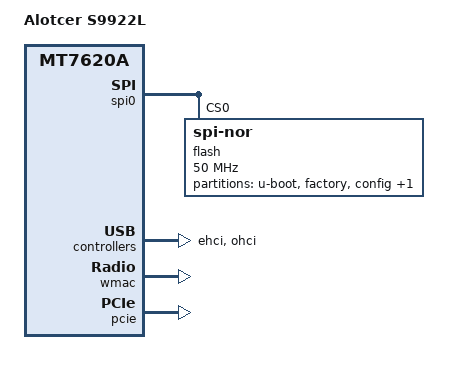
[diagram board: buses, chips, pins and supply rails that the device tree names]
// SPDX-License-Identifier: GPL-2.0-or-later OR MIT
/dts-v1/;

#include "mt7620a.dtsi"

#include <dt-bindings/gpio/gpio.h>
#include <dt-bindings/input/input.h>

/ {
	compatible = "alotcer,s9922l", "ralink,mt7620a-soc";
	model = "Alotcer S9922L";

	chosen {
		bootargs = "console=ttyS0,115200";
	};
};

&gpio1 {
	status = "okay";
};

&gpio2 {
	status = "okay";
};

&gpio3 {
	status = "okay";
};

&spi0 {
	status = "okay";

	flash@0 {
		compatible = "jedec,spi-nor";
		reg = <0>;
		spi-max-frequency = <50000000>;
		m25p,fast-read;

		partitions {
			compatible = "fixed-partitions";
			#address-cells = <1>;
			#size-cells = <1>;

			partition@0 {
				label = "u-boot";
				reg = <0x0 0x30000>;
				read-only;
			};

			factory: partition@30000 {
				label = "factory";
				reg = <0x30000 0x10000>;
				read-only;
			};

			partition@40000 {
				label = "config";
				reg = <0x40000 0x10000>;
				read-only;
			};

			partition@50000 {
				compatible = "denx,uimage";
				label = "firmware";
				reg = <0x50000 0xfb0000>;
			};
		};
	};
};

&ehci {
	status = "okay";
};

&ohci {
	status = "okay";
};

&ethernet {
	nvmem-cells = <&macaddr_factory_1028>;
	nvmem-cell-names = "mac-address";
	mediatek,portmap = "lllll";
};

&wmac {
	ralink,mtd-eeprom = <&factory 0x0>;
};

&factory {
	compatible = "nvmem-cells";
	#address-cells = <1>;
	#size-cells = <1>;

	macaddr_factory_1028: macaddr@1028 {
		reg = <0x1028 0x6>;
	};
};

&state_default {
	gpio {
		groups = "uartf", "wled", "spi refclk", "ephy", "mdio";
		function = "gpio";
	};
};

&pcie {
	status = "okay";
};
